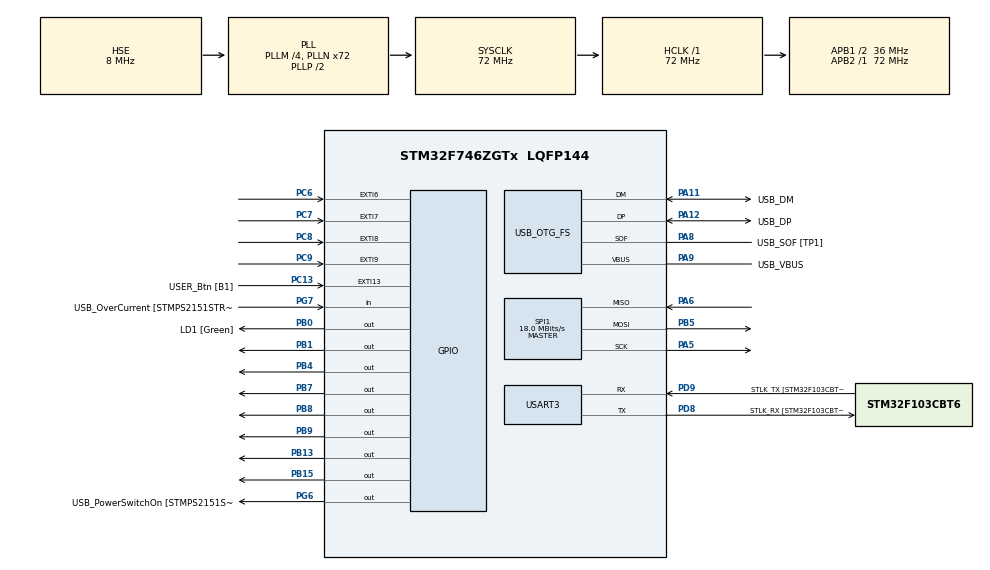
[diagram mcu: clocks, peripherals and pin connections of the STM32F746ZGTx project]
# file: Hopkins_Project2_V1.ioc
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Dma.Request0=SPI1_TX
Dma.SPI1_TX.0.Direction=DMA_MEMORY_TO_PERIPH
Dma.SPI1_TX.0.FIFOMode=DMA_FIFOMODE_ENABLE
Dma.SPI1_TX.0.FIFOThreshold=DMA_FIFO_THRESHOLD_HALFFULL
Dma.SPI1_TX.0.Instance=DMA2_Stream3
Dma.SPI1_TX.0.MemBurst=DMA_MBURST_SINGLE
Dma.SPI1_TX.0.MemDataAlignment=DMA_MDATAALIGN_HALFWORD
Dma.SPI1_TX.0.MemInc=DMA_MINC_ENABLE
Dma.SPI1_TX.0.Mode=DMA_NORMAL
Dma.SPI1_TX.0.PeriphBurst=DMA_PBURST_SINGLE
Dma.SPI1_TX.0.PeriphDataAlignment=DMA_PDATAALIGN_HALFWORD
Dma.SPI1_TX.0.PeriphInc=DMA_PINC_DISABLE
Dma.SPI1_TX.0.Priority=DMA_PRIORITY_LOW
Mcu.Family=STM32F7
Mcu.Name=STM32F746ZGTx
Mcu.Package=LQFP144
NVIC.DMA2_Stream3_IRQn=true\:0\:0\:false\:false\:true\:false\:true\:true
NVIC.EXTI9_5_IRQn=true\:0\:0\:false\:false\:true\:true\:true\:true
NVIC.PriorityGroup=NVIC_PRIORITYGROUP_4
PA1.GPIO_Label=RMII_REF_CLK [LAN8742A-CZ-TR_REFCLK0]
PA1.Signal=ETH_REF_CLK
PA10.GPIO_Label=USB_ID
PA10.Signal=USB_OTG_FS_ID
PA11.GPIO_Label=USB_DM
PA11.Mode=Device_Only
PA11.Signal=USB_OTG_FS_DM
PA12.GPIO_Label=USB_DP
PA12.Mode=Device_Only
PA12.Signal=USB_OTG_FS_DP
PA13.GPIO_Label=TMS
PA13.Mode=Serial_Wire
PA13.Signal=SYS_JTMS-SWDIO
PA14.GPIO_Label=TCK
PA14.Mode=Serial_Wire
PA14.Signal=SYS_JTCK-SWCLK
PA2.GPIO_Label=RMII_MDIO [LAN8742A-CZ-TR_MDIO]
PA2.Signal=ETH_MDIO
PA5.Mode=Full_Duplex_Master
PA5.Signal=SPI1_SCK
PA6.Mode=Full_Duplex_Master
PA6.Signal=SPI1_MISO
PA7.GPIO_Label=RMII_CRS_DV [LAN8742A-CZ-TR_CRS_DV]
PA7.Signal=ETH_CRS_DV
PA8.GPIO_Label=USB_SOF [TP1]
PA8.Mode=Activate_SOF_FS
PA8.Signal=USB_OTG_FS_SOF
PA9.GPIO_Label=USB_VBUS
PA9.Mode=Activate_VBUS
PA9.Signal=USB_OTG_FS_VBUS
PB0.GPIO_Label=LD1 [Green]
PB0.PinState=GPIO_PIN_RESET
PB0.Signal=GPIO_Output
PB1.GPIO_PuPd=GPIO_PULLDOWN
PB1.Signal=GPIO_Output
PB13.GPIO_PuPd=GPIO_PULLDOWN
PB13.PinState=GPIO_PIN_RESET
PB13.Signal=GPIO_Output
PB15.GPIO_PuPd=GPIO_PULLDOWN
PB15.Signal=GPIO_Output
PB3.GPIO_Label=SW0
PB3.Signal=SYS_JTDO-SWO
PB4.GPIO_PuPd=GPIO_PULLDOWN
PB4.Signal=GPIO_Output
PB5.Mode=Full_Duplex_Master
PB5.Signal=SPI1_MOSI
PB7.Signal=GPIO_Output
PB8.Signal=GPIO_Output
PB9.Signal=GPIO_Output
PC1.GPIO_Label=RMII_MDC [LAN8742A-CZ-TR_MDC]
PC1.Signal=ETH_MDC
PC13.GPIO_Label=USER_Btn [B1]
PC13.Signal=GPXTI13
PC14/OSC32_IN.Mode=LSE-External-Oscillator
PC14/OSC32_IN.Signal=RCC_OSC32_IN
PC15/OSC32_OUT.Mode=LSE-External-Oscillator
PC15/OSC32_OUT.Signal=RCC_OSC32_OUT
PC4.GPIO_Label=RMII_RXD0 [LAN8742A-CZ-TR_RXD0]
PC4.Signal=ETH_RXD0
PC5.GPIO_Label=RMII_RXD1 [LAN8742A-CZ-TR_RXD1]
PC5.Signal=ETH_RXD1
PC6.GPIO_ModeDefaultEXTI=GPIO_MODE_IT_FALLING
PC6.GPIO_PuPd=GPIO_PULLUP
PC6.Signal=GPXTI6
PC7.GPIO_ModeDefaultEXTI=GPIO_MODE_IT_FALLING
PC7.GPIO_PuPd=GPIO_PULLUP
PC7.Signal=GPXTI7
PC8.GPIO_ModeDefaultEXTI=GPIO_MODE_IT_FALLING
PC8.GPIO_PuPd=GPIO_PULLUP
PC8.Signal=GPXTI8
PC9.GPIO_ModeDefaultEXTI=GPIO_MODE_IT_FALLING
PC9.GPIO_PuPd=GPIO_PULLUP
PC9.Signal=GPXTI9
PD8.GPIO_Label=STLK_RX [STM32F103CBT6_PA3]
PD8.GPIO_PuPd=GPIO_PULLUP
PD8.Mode=Asynchronous
PD8.Signal=USART3_TX
PD9.GPIO_Label=STLK_TX [STM32F103CBT6_PA2]
PD9.GPIO_PuPd=GPIO_PULLUP
PD9.Mode=Asynchronous
PD9.Signal=USART3_RX
PG11.GPIO_Label=RMII_TX_EN [LAN8742A-CZ-TR_TXEN]
PG11.Signal=ETH_TX_EN
PG13.GPIO_Label=RMII_TXD0 [LAN8742A-CZ-TR_TXD0]
PG13.Signal=ETH_TXD0
PG6.GPIO_Label=USB_PowerSwitchOn [STMPS2151STR_EN]
PG6.Signal=GPIO_Output
PG7.GPIO_Label=USB_OverCurrent [STMPS2151STR_FAULT]
PG7.Signal=GPIO_Input
PH0/OSC_IN.GPIO_Label=MCO [STM32F103CBT6_PA8]
PH0/OSC_IN.Mode=HSE-External-Clock-Source
PH0/OSC_IN.Signal=RCC_OSC_IN
PH1/OSC_OUT.Mode=HSE-External-Clock-Source
PH1/OSC_OUT.Signal=RCC_OSC_OUT
ProjectManager.HeapSize=0x200
ProjectManager.StackSize=0x400
ProjectManager.TargetToolchain=STM32CubeIDE
RCC.48MHZClocksFreq_Value=24000000
RCC.AHBFreq_Value=72000000
RCC.APB1CLKDivider=RCC_HCLK_DIV2
RCC.APB1Freq_Value=36000000
RCC.APB1TimFreq_Value=72000000
RCC.APB2Freq_Value=72000000
RCC.APB2TimFreq_Value=72000000
RCC.CortexFreq_Value=72000000
RCC.HCLKFreq_Value=72000000
RCC.HSE_VALUE=8000000
RCC.HSI_VALUE=16000000
RCC.PLLM=4
RCC.PLLMUL=RCC_PLL_MUL9
RCC.PLLN=72
RCC.PLLQ=3
RCC.PRESCALERUSB=RCC_USBCLKSOURCE_PLL_DIV1_5
RCC.SYSCLKFreq_VALUE=72000000
RCC.SYSCLKSource=RCC_SYSCLKSOURCE_PLLCLK
RCC.SYSCLKSourceVirtual=RCC_SYSCLKSOURCE_PLLCLK
RCC.USBFreq_Value=48000000
RCC.VCOOutputFreq_Value=144000000
SPI1.BaudRatePrescaler=SPI_BAUDRATEPRESCALER_4
SPI1.CalculateBaudRate=18.0 MBits/s
SPI1.DataSize=SPI_DATASIZE_8BIT
SPI1.Direction=SPI_DIRECTION_2LINES
SPI1.Mode=SPI_MODE_MASTER
SPI1.NSSPMode=SPI_NSS_PULSE_DISABLE
SPI1.VirtualType=VM_MASTER
USART3.VirtualMode-Asynchronous=VM_ASYNC
USB_OTG_FS.VirtualMode=Device_Only
board=NUCLEO-F746ZG

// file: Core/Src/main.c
/* USER CODE BEGIN Header */
/**
  ******************************************************************************
  * @file           : main.c
  * @brief          : Main program body
  ******************************************************************************
  * @attention
  *
  * Copyright (c) 2023 STMicroelectronics.
  * All rights reserved.
  *
  * This software is licensed under terms that can be found in the LICENSE file
  * in the root directory of this software component.
  * If no LICENSE file comes with this software, it is provided AS-IS.
  *
  ******************************************************************************
  */
/* USER CODE END Header */
#include "main.h"

/* USER CODE BEGIN Includes */
#include "ili9163.h"
#include "fonts.h"
#include "colors.h"
#include "calculator.h"
/* USER CODE END Includes */

SPI_HandleTypeDef hspi1;
DMA_HandleTypeDef hdma_spi1_tx;

UART_HandleTypeDef huart3;

PCD_HandleTypeDef hpcd_USB_OTG_FS;

/* USER CODE BEGIN PV */
char keyChar = 0;
uint16_t key = 0;
char writeString[32];
int shiftFlag = 0;
char input[200];
int inputStrLen = 0;
/* USER CODE END PV */

void SystemClock_Config(void);
static void MX_GPIO_Init(void);
static void MX_DMA_Init(void);
static void MX_USART3_UART_Init(void);
static void MX_USB_OTG_FS_PCD_Init(void);
static void MX_SPI1_Init(void);

int main(void)
{

  /* MCU Configuration--------------------------------------------------------*/

  /* Reset of all peripherals, Initializes the Flash interface and the Systick. */
  HAL_Init();

  /* Configure the system clock */
  SystemClock_Config();

  /* Initialize all configured peripherals */
  MX_GPIO_Init();
  MX_DMA_Init();
  MX_USART3_UART_Init();
  MX_USB_OTG_FS_PCD_Init();
  MX_SPI1_Init();
  /* USER CODE BEGIN 2 */
  //char keyOperands[8];	//Operands char array of size 8 bits
  //char keyOperators[8]; 	//Operators character array of size 8 bits

  getTitleScreen(); //GUI Title function call
  //getShiftScreen(); //GUI Shift function call
  /* USER CODE END 2 */

  /* Infinite loop */
  /* USER CODE BEGIN WHILE */
  while (1)
  {
	/*
	ILI9163_newFrame();
	sprintf(output, "Value: %s", input);
	ILI9163_drawStringF(5, 56, Font_16x26, RED, input);
	ILI9163_render();
	*/
	//Basic key pad functionality
	if (keyChar != 0) //if button is pressed
	{
		if (keyChar == '*')//if '*' button is pressed
		{
			shiftFlag = 1;
			keyChar = 0;
		}
		keyChar = 0;
		ILI9163_newFrame();
		ILI9163_drawStringF(5, 5, Font_11x18, BLUE, input);
		ILI9163_render();
		inputStrLen = strlen(input);
		if (input[inputStrLen - 1] == '=')
		{
			input[inputStrLen - 1] = '\0';
			calculate(input);
			input[0] = '\0';
		}
	}
  }
}
	/*
	stringSize = strlen(input);
	if(input[stringSize - 1] == '=') //If the last value in the input array is = then separate array into stacks
	{
		for(int i = 0; i < stringSize; i++)
		{
			if(isdigit((int)atof(input[i])) || input[i] == '.')
			{
				startIndex = i;
				for(int j = i; j < stringSize; j++)
				{
					if(isdigit((int)atof(input[j])))
					{
						endIndex = j - 1;
						break;
					}
				}
				for(int k = 0; startIndex <= endIndex; k++)
				{
					tempNumStrArr[k] = input[startIndex]; //Appending the "input" array to a temporary number array
					startIndex++;
				}
				numStrLen = strlen(tempNumStrArr);
				tempNumStrArr[numStrLen] = '\0';
			}
			else
			{
				operators[i] = input[i];
			}
			operands[i] = atof(tempNumStrArr);
			tempNumStrArr[0] = '\0';
		}
	}
	*/
    /* USER CODE END WHILE */

void SystemClock_Config(void)
{
  RCC_OscInitTypeDef RCC_OscInitStruct = {0};
  RCC_ClkInitTypeDef RCC_ClkInitStruct = {0};

  /** Configure LSE Drive Capability
  */
  HAL_PWR_EnableBkUpAccess();

  /** Configure the main internal regulator output voltage
  */
  __HAL_RCC_PWR_CLK_ENABLE();
  __HAL_PWR_VOLTAGESCALING_CONFIG(PWR_REGULATOR_VOLTAGE_SCALE3);

  /** Initializes the RCC Oscillators according to the specified parameters
  * in the RCC_OscInitTypeDef structure.
  */
  RCC_OscInitStruct.OscillatorType = RCC_OSCILLATORTYPE_HSE;
  RCC_OscInitStruct.HSEState = RCC_HSE_BYPASS;
  RCC_OscInitStruct.PLL.PLLState = RCC_PLL_ON;
  RCC_OscInitStruct.PLL.PLLSource = RCC_PLLSOURCE_HSE;
  RCC_OscInitStruct.PLL.PLLM = 4;
  RCC_OscInitStruct.PLL.PLLN = 72;
  RCC_OscInitStruct.PLL.PLLP = RCC_PLLP_DIV2;
  RCC_OscInitStruct.PLL.PLLQ = 3;
  if (HAL_RCC_OscConfig(&RCC_OscInitStruct) != HAL_OK)
  {
    Error_Handler();
  }

  /** Initializes the CPU, AHB and APB buses clocks
  */
  RCC_ClkInitStruct.ClockType = RCC_CLOCKTYPE_HCLK|RCC_CLOCKTYPE_SYSCLK
                              |RCC_CLOCKTYPE_PCLK1|RCC_CLOCKTYPE_PCLK2;
  RCC_ClkInitStruct.SYSCLKSource = RCC_SYSCLKSOURCE_PLLCLK;
  RCC_ClkInitStruct.AHBCLKDivider = RCC_SYSCLK_DIV1;
  RCC_ClkInitStruct.APB1CLKDivider = RCC_HCLK_DIV2;
  RCC_ClkInitStruct.APB2CLKDivider = RCC_HCLK_DIV1;

  if (HAL_RCC_ClockConfig(&RCC_ClkInitStruct, FLASH_LATENCY_2) != HAL_OK)
  {
    Error_Handler();
  }
}

static void MX_SPI1_Init(void)
{

  /* SPI1 parameter configuration*/
  hspi1.Instance = SPI1;
  hspi1.Init.Mode = SPI_MODE_MASTER;
  hspi1.Init.Direction = SPI_DIRECTION_2LINES;
  hspi1.Init.DataSize = SPI_DATASIZE_8BIT;
  hspi1.Init.CLKPolarity = SPI_POLARITY_LOW;
  hspi1.Init.CLKPhase = SPI_PHASE_1EDGE;
  hspi1.Init.NSS = SPI_NSS_SOFT;
  hspi1.Init.BaudRatePrescaler = SPI_BAUDRATEPRESCALER_4;
  hspi1.Init.FirstBit = SPI_FIRSTBIT_MSB;
  hspi1.Init.TIMode = SPI_TIMODE_DISABLE;
  hspi1.Init.CRCCalculation = SPI_CRCCALCULATION_DISABLE;
  hspi1.Init.CRCPolynomial = 7;
  hspi1.Init.CRCLength = SPI_CRC_LENGTH_DATASIZE;
  hspi1.Init.NSSPMode = SPI_NSS_PULSE_DISABLE;
  if (HAL_SPI_Init(&hspi1) != HAL_OK)
  {
    Error_Handler();
  }

}

static void MX_USART3_UART_Init(void)
{

  huart3.Instance = USART3;
  huart3.Init.BaudRate = 115200;
  huart3.Init.WordLength = UART_WORDLENGTH_8B;
  huart3.Init.StopBits = UART_STOPBITS_1;
  huart3.Init.Parity = UART_PARITY_NONE;
  huart3.Init.Mode = UART_MODE_TX_RX;
  huart3.Init.HwFlowCtl = UART_HWCONTROL_NONE;
  huart3.Init.OverSampling = UART_OVERSAMPLING_16;
  huart3.Init.OneBitSampling = UART_ONE_BIT_SAMPLE_DISABLE;
  huart3.AdvancedInit.AdvFeatureInit = UART_ADVFEATURE_NO_INIT;
  if (HAL_UART_Init(&huart3) != HAL_OK)
  {
    Error_Handler();
  }

}

static void MX_USB_OTG_FS_PCD_Init(void)
{

  hpcd_USB_OTG_FS.Instance = USB_OTG_FS;
  hpcd_USB_OTG_FS.Init.dev_endpoints = 6;
  hpcd_USB_OTG_FS.Init.speed = PCD_SPEED_FULL;
  hpcd_USB_OTG_FS.Init.dma_enable = DISABLE;
  hpcd_USB_OTG_FS.Init.phy_itface = PCD_PHY_EMBEDDED;
  hpcd_USB_OTG_FS.Init.Sof_enable = ENABLE;
  hpcd_USB_OTG_FS.Init.low_power_enable = DISABLE;
  hpcd_USB_OTG_FS.Init.lpm_enable = DISABLE;
  hpcd_USB_OTG_FS.Init.vbus_sensing_enable = ENABLE;
  hpcd_USB_OTG_FS.Init.use_dedicated_ep1 = DISABLE;
  if (HAL_PCD_Init(&hpcd_USB_OTG_FS) != HAL_OK)
  {
    Error_Handler();
  }

}

static void MX_DMA_Init(void)
{

  /* DMA controller clock enable */
  __HAL_RCC_DMA2_CLK_ENABLE();

  /* DMA interrupt init */
  /* DMA2_Stream3_IRQn interrupt configuration */
  HAL_NVIC_SetPriority(DMA2_Stream3_IRQn, 0, 0);
  HAL_NVIC_EnableIRQ(DMA2_Stream3_IRQn);

}

static void MX_GPIO_Init(void)
{
  GPIO_InitTypeDef GPIO_InitStruct = {0};

  /* GPIO Ports Clock Enable */
  __HAL_RCC_GPIOC_CLK_ENABLE();
  __HAL_RCC_GPIOH_CLK_ENABLE();
  __HAL_RCC_GPIOA_CLK_ENABLE();
  __HAL_RCC_GPIOB_CLK_ENABLE();
  __HAL_RCC_GPIOD_CLK_ENABLE();
  __HAL_RCC_GPIOG_CLK_ENABLE();

  /*Configure GPIO pin Output Level */
  HAL_GPIO_WritePin(GPIOB, LD1_Pin|GPIO_PIN_1|GPIO_PIN_13|GPIO_PIN_15
                          |GPIO_PIN_4|GPIO_PIN_7|GPIO_PIN_8|GPIO_PIN_9, GPIO_PIN_RESET);

  /*Configure GPIO pin Output Level */
  HAL_GPIO_WritePin(USB_PowerSwitchOn_GPIO_Port, USB_PowerSwitchOn_Pin, GPIO_PIN_RESET);

  /*Configure GPIO pin : USER_Btn_Pin */
  GPIO_InitStruct.Pin = USER_Btn_Pin;
  GPIO_InitStruct.Mode = GPIO_MODE_IT_RISING;
  GPIO_InitStruct.Pull = GPIO_NOPULL;
  HAL_GPIO_Init(USER_Btn_GPIO_Port, &GPIO_InitStruct);

  /*Configure GPIO pins : RMII_MDC_Pin RMII_RXD0_Pin RMII_RXD1_Pin */
  GPIO_InitStruct.Pin = RMII_MDC_Pin|RMII_RXD0_Pin|RMII_RXD1_Pin;
  GPIO_InitStruct.Mode = GPIO_MODE_AF_PP;
  GPIO_InitStruct.Pull = GPIO_NOPULL;
  GPIO_InitStruct.Speed = GPIO_SPEED_FREQ_VERY_HIGH;
  GPIO_InitStruct.Alternate = GPIO_AF11_ETH;
  HAL_GPIO_Init(GPIOC, &GPIO_InitStruct);

  /*Configure GPIO pins : RMII_REF_CLK_Pin RMII_MDIO_Pin RMII_CRS_DV_Pin */
  GPIO_InitStruct.Pin = RMII_REF_CLK_Pin|RMII_MDIO_Pin|RMII_CRS_DV_Pin;
  GPIO_InitStruct.Mode = GPIO_MODE_AF_PP;
  GPIO_InitStruct.Pull = GPIO_NOPULL;
  GPIO_InitStruct.Speed = GPIO_SPEED_FREQ_VERY_HIGH;
  GPIO_InitStruct.Alternate = GPIO_AF11_ETH;
  HAL_GPIO_Init(GPIOA, &GPIO_InitStruct);

  /*Configure GPIO pins : LD1_Pin PB7 PB8 PB9 */
  GPIO_InitStruct.Pin = LD1_Pin|GPIO_PIN_7|GPIO_PIN_8|GPIO_PIN_9;
  GPIO_InitStruct.Mode = GPIO_MODE_OUTPUT_PP;
  GPIO_InitStruct.Pull = GPIO_NOPULL;
  GPIO_InitStruct.Speed = GPIO_SPEED_FREQ_LOW;
  HAL_GPIO_Init(GPIOB, &GPIO_InitStruct);

  /*Configure GPIO pins : PB1 PB13 PB15 PB4 */
  GPIO_InitStruct.Pin = GPIO_PIN_1|GPIO_PIN_13|GPIO_PIN_15|GPIO_PIN_4;
  GPIO_InitStruct.Mode = GPIO_MODE_OUTPUT_PP;
  GPIO_InitStruct.Pull = GPIO_PULLDOWN;
  GPIO_InitStruct.Speed = GPIO_SPEED_FREQ_LOW;
  HAL_GPIO_Init(GPIOB, &GPIO_InitStruct);

  /*Configure GPIO pin : USB_PowerSwitchOn_Pin */
  GPIO_InitStruct.Pin = USB_PowerSwitchOn_Pin;
  GPIO_InitStruct.Mode = GPIO_MODE_OUTPUT_PP;
  GPIO_InitStruct.Pull = GPIO_NOPULL;
  GPIO_InitStruct.Speed = GPIO_SPEED_FREQ_LOW;
  HAL_GPIO_Init(USB_PowerSwitchOn_GPIO_Port, &GPIO_InitStruct);

  /*Configure GPIO pin : USB_OverCurrent_Pin */
  GPIO_InitStruct.Pin = USB_OverCurrent_Pin;
  GPIO_InitStruct.Mode = GPIO_MODE_INPUT;
  GPIO_InitStruct.Pull = GPIO_NOPULL;
  HAL_GPIO_Init(USB_OverCurrent_GPIO_Port, &GPIO_InitStruct);

  /*Configure GPIO pins : PC6 PC7 PC8 PC9 */
  GPIO_InitStruct.Pin = GPIO_PIN_6|GPIO_PIN_7|GPIO_PIN_8|GPIO_PIN_9;
  GPIO_InitStruct.Mode = GPIO_MODE_IT_FALLING;
  GPIO_InitStruct.Pull = GPIO_PULLUP;
  HAL_GPIO_Init(GPIOC, &GPIO_InitStruct);

  /*Configure GPIO pins : RMII_TX_EN_Pin RMII_TXD0_Pin */
  GPIO_InitStruct.Pin = RMII_TX_EN_Pin|RMII_TXD0_Pin;
  GPIO_InitStruct.Mode = GPIO_MODE_AF_PP;
  GPIO_InitStruct.Pull = GPIO_NOPULL;
  GPIO_InitStruct.Speed = GPIO_SPEED_FREQ_VERY_HIGH;
  GPIO_InitStruct.Alternate = GPIO_AF11_ETH;
  HAL_GPIO_Init(GPIOG, &GPIO_InitStruct);

  /* EXTI interrupt init*/
  HAL_NVIC_SetPriority(EXTI9_5_IRQn, 0, 0);
  HAL_NVIC_EnableIRQ(EXTI9_5_IRQn);

}

/* USER CODE BEGIN 4 */
uint8_t SPI_DMA_FL = 0;
  uint32_t SPI_DMA_CNT=1;
void HAL_SPI_TxCpltCallback(SPI_HandleTypeDef *hspi)  {     SPI_DMA_CNT--;     if(SPI_DMA_CNT==0)     {         HAL_SPI_DMAStop(&hspi1);         SPI_DMA_CNT=1;         SPI_DMA_FL=1;     } }
/* USER CODE END 4 */

void Error_Handler(void)
{
  __disable_irq();
  while (1)
  {
  }
}
